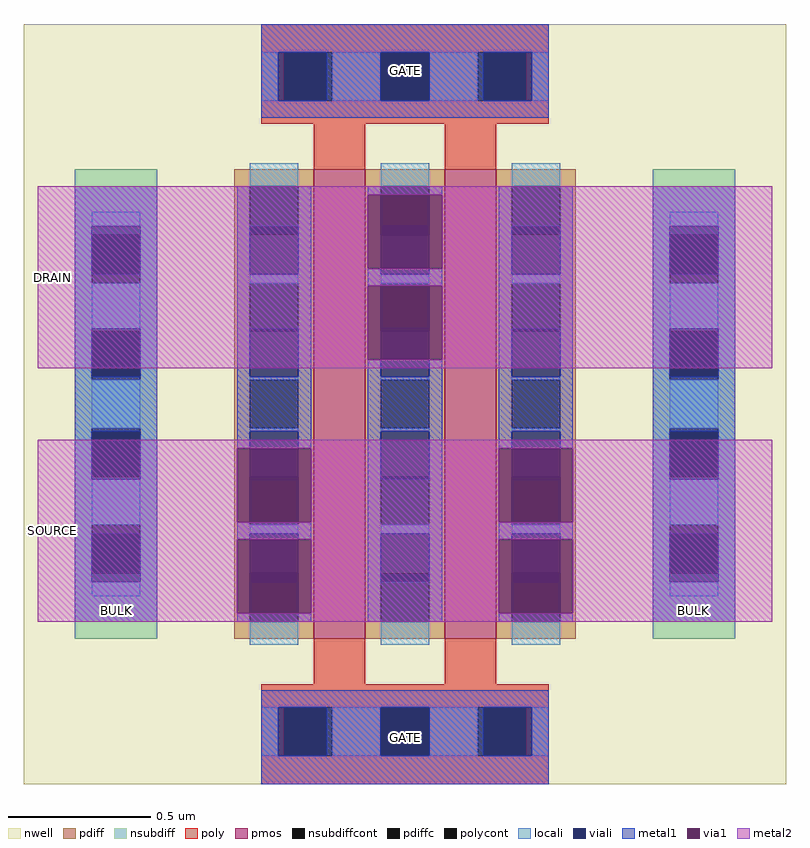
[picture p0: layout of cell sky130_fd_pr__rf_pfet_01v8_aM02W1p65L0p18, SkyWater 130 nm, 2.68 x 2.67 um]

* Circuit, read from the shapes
.subckt sky130_fd_pr__rf_pfet_01v8_aM02W1p65L0p18 BULK DRAIN GATE SOURCE
XM1 DRAIN GATE SOURCE BULK sky130_fd_pr__pfet_01v8 w=1.65 l=0.18 m=2
.ends

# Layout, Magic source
magic
tech sky130A
magscale 1 2
<< nwell >>
rect 0 0 536 534
<< pmos >>
rect 204 102 240 432
rect 296 102 332 432
<< pdiff >>
rect 148 420 204 432
rect 148 386 159 420
rect 193 386 204 420
rect 148 352 204 386
rect 148 318 159 352
rect 193 318 204 352
rect 148 284 204 318
rect 148 250 159 284
rect 193 250 204 284
rect 148 216 204 250
rect 148 182 159 216
rect 193 182 204 216
rect 148 148 204 182
rect 148 114 159 148
rect 193 114 204 148
rect 148 102 204 114
rect 240 420 296 432
rect 240 386 251 420
rect 285 386 296 420
rect 240 352 296 386
rect 240 318 251 352
rect 285 318 296 352
rect 240 284 296 318
rect 240 250 251 284
rect 285 250 296 284
rect 240 216 296 250
rect 240 182 251 216
rect 285 182 296 216
rect 240 148 296 182
rect 240 114 251 148
rect 285 114 296 148
rect 240 102 296 114
rect 332 420 388 432
rect 332 386 343 420
rect 377 386 388 420
rect 332 352 388 386
rect 332 318 343 352
rect 377 318 388 352
rect 332 284 388 318
rect 332 250 343 284
rect 377 250 388 284
rect 332 216 388 250
rect 332 182 343 216
rect 377 182 388 216
rect 332 148 388 182
rect 332 114 343 148
rect 377 114 388 148
rect 332 102 388 114
<< pdiffc >>
rect 159 386 193 420
rect 159 318 193 352
rect 159 250 193 284
rect 159 182 193 216
rect 159 114 193 148
rect 251 386 285 420
rect 251 318 285 352
rect 251 250 285 284
rect 251 182 285 216
rect 251 114 285 148
rect 343 386 377 420
rect 343 318 377 352
rect 343 250 377 284
rect 343 182 377 216
rect 343 114 377 148
<< nsubdiff >>
rect 36 386 94 432
rect 36 352 48 386
rect 82 352 94 386
rect 36 318 94 352
rect 36 284 48 318
rect 82 284 94 318
rect 36 250 94 284
rect 36 216 48 250
rect 82 216 94 250
rect 36 182 94 216
rect 36 148 48 182
rect 82 148 94 182
rect 36 102 94 148
rect 442 386 500 432
rect 442 352 454 386
rect 488 352 500 386
rect 442 318 500 352
rect 442 284 454 318
rect 488 284 500 318
rect 442 250 500 284
rect 442 216 454 250
rect 488 216 500 250
rect 442 182 500 216
rect 442 148 454 182
rect 488 148 500 182
rect 442 102 500 148
<< nsubdiffcont >>
rect 48 352 82 386
rect 48 284 82 318
rect 48 216 82 250
rect 48 148 82 182
rect 454 352 488 386
rect 454 284 488 318
rect 454 216 488 250
rect 454 148 488 182
<< poly >>
rect 167 514 369 534
rect 167 480 183 514
rect 217 480 251 514
rect 285 480 319 514
rect 353 480 369 514
rect 167 464 369 480
rect 204 432 240 464
rect 296 432 332 464
rect 204 70 240 102
rect 296 70 332 102
rect 167 54 369 70
rect 167 20 183 54
rect 217 20 251 54
rect 285 20 319 54
rect 353 20 369 54
rect 167 0 369 20
<< polycont >>
rect 183 480 217 514
rect 251 480 285 514
rect 319 480 353 514
rect 183 20 217 54
rect 251 20 285 54
rect 319 20 353 54
<< locali >>
rect 167 480 179 514
rect 217 480 251 514
rect 285 480 319 514
rect 357 480 369 514
rect 159 420 193 436
rect 48 392 82 402
rect 48 320 82 352
rect 48 250 82 284
rect 48 182 82 214
rect 48 132 82 142
rect 159 352 193 358
rect 159 284 193 286
rect 159 248 193 250
rect 159 176 193 182
rect 159 98 193 114
rect 251 420 285 436
rect 251 352 285 358
rect 251 284 285 286
rect 251 248 285 250
rect 251 176 285 182
rect 251 98 285 114
rect 343 420 377 436
rect 343 352 377 358
rect 343 284 377 286
rect 343 248 377 250
rect 343 176 377 182
rect 454 392 488 402
rect 454 320 488 352
rect 454 250 488 284
rect 454 182 488 214
rect 454 132 488 142
rect 343 98 377 114
rect 167 20 179 54
rect 217 20 251 54
rect 285 20 319 54
rect 357 20 369 54
<< viali >>
rect 179 480 183 514
rect 183 480 213 514
rect 251 480 285 514
rect 323 480 353 514
rect 353 480 357 514
rect 48 386 82 392
rect 48 358 82 386
rect 48 318 82 320
rect 48 286 82 318
rect 48 216 82 248
rect 48 214 82 216
rect 48 148 82 176
rect 48 142 82 148
rect 159 386 193 392
rect 159 358 193 386
rect 159 318 193 320
rect 159 286 193 318
rect 159 216 193 248
rect 159 214 193 216
rect 159 148 193 176
rect 159 142 193 148
rect 251 386 285 392
rect 251 358 285 386
rect 251 318 285 320
rect 251 286 285 318
rect 251 216 285 248
rect 251 214 285 216
rect 251 148 285 176
rect 251 142 285 148
rect 343 386 377 392
rect 343 358 377 386
rect 343 318 377 320
rect 343 286 377 318
rect 343 216 377 248
rect 343 214 377 216
rect 343 148 377 176
rect 343 142 377 148
rect 454 386 488 392
rect 454 358 488 386
rect 454 318 488 320
rect 454 286 488 318
rect 454 216 488 248
rect 454 214 488 216
rect 454 148 488 176
rect 454 142 488 148
rect 179 20 183 54
rect 183 20 213 54
rect 251 20 285 54
rect 323 20 353 54
rect 353 20 357 54
<< metal1 >>
rect 167 514 369 534
rect 167 480 179 514
rect 213 480 251 514
rect 285 480 323 514
rect 357 480 369 514
rect 167 468 369 480
rect 36 392 94 420
rect 36 358 48 392
rect 82 358 94 392
rect 36 320 94 358
rect 36 286 48 320
rect 82 286 94 320
rect 36 248 94 286
rect 36 214 48 248
rect 82 214 94 248
rect 36 176 94 214
rect 36 142 48 176
rect 82 142 94 176
rect 36 114 94 142
rect 150 392 202 420
rect 150 358 159 392
rect 193 358 202 392
rect 150 320 202 358
rect 150 286 159 320
rect 193 286 202 320
rect 150 248 202 286
rect 150 236 159 248
rect 193 236 202 248
rect 150 176 202 184
rect 150 172 159 176
rect 193 172 202 176
rect 150 114 202 120
rect 242 414 294 420
rect 242 358 251 362
rect 285 358 294 362
rect 242 350 294 358
rect 242 286 251 298
rect 285 286 294 298
rect 242 248 294 286
rect 242 214 251 248
rect 285 214 294 248
rect 242 176 294 214
rect 242 142 251 176
rect 285 142 294 176
rect 242 114 294 142
rect 334 392 386 420
rect 334 358 343 392
rect 377 358 386 392
rect 334 320 386 358
rect 334 286 343 320
rect 377 286 386 320
rect 334 248 386 286
rect 334 236 343 248
rect 377 236 386 248
rect 334 176 386 184
rect 334 172 343 176
rect 377 172 386 176
rect 334 114 386 120
rect 442 392 500 420
rect 442 358 454 392
rect 488 358 500 392
rect 442 320 500 358
rect 442 286 454 320
rect 488 286 500 320
rect 442 248 500 286
rect 442 214 454 248
rect 488 214 500 248
rect 442 176 500 214
rect 442 142 454 176
rect 488 142 500 176
rect 442 114 500 142
rect 167 54 369 66
rect 167 20 179 54
rect 213 20 251 54
rect 285 20 323 54
rect 357 20 369 54
rect 167 0 369 20
<< via1 >>
rect 150 214 159 236
rect 159 214 193 236
rect 193 214 202 236
rect 150 184 202 214
rect 150 142 159 172
rect 159 142 193 172
rect 193 142 202 172
rect 150 120 202 142
rect 242 392 294 414
rect 242 362 251 392
rect 251 362 285 392
rect 285 362 294 392
rect 242 320 294 350
rect 242 298 251 320
rect 251 298 285 320
rect 285 298 294 320
rect 334 214 343 236
rect 343 214 377 236
rect 377 214 386 236
rect 334 184 386 214
rect 334 142 343 172
rect 343 142 377 172
rect 377 142 386 172
rect 334 120 386 142
<< metal2 >>
rect 10 414 526 420
rect 10 362 242 414
rect 294 362 526 414
rect 10 350 526 362
rect 10 298 242 350
rect 294 298 526 350
rect 10 292 526 298
rect 10 236 526 242
rect 10 184 150 236
rect 202 184 334 236
rect 386 184 526 236
rect 10 172 526 184
rect 10 120 150 172
rect 202 120 334 172
rect 386 120 526 172
rect 10 114 526 120
<< labels >>
flabel metal2 s 10 292 30 420 7 FreeSans 300 180 0 0 DRAIN
port 2 nsew
flabel metal2 s 10 114 30 242 7 FreeSans 300 180 0 0 SOURCE
port 4 nsew
flabel metal1 s 442 114 500 130 3 FreeSans 300 90 0 0 BULK
port 1 nsew
flabel metal1 s 167 0 369 66 0 FreeSans 300 0 0 0 GATE
port 3 nsew
flabel metal1 s 167 468 369 534 0 FreeSans 300 0 0 0 GATE
port 3 nsew
flabel metal1 s 36 114 94 130 3 FreeSans 300 90 0 0 BULK
port 1 nsew
<< properties >>
string GDS_FILE $PDKPATH/libs.ref/sky130_fd_pr/gds/sky130_fd_pr.gds
string GDS_END 9357846
string GDS_START 9350194
<< end >>
